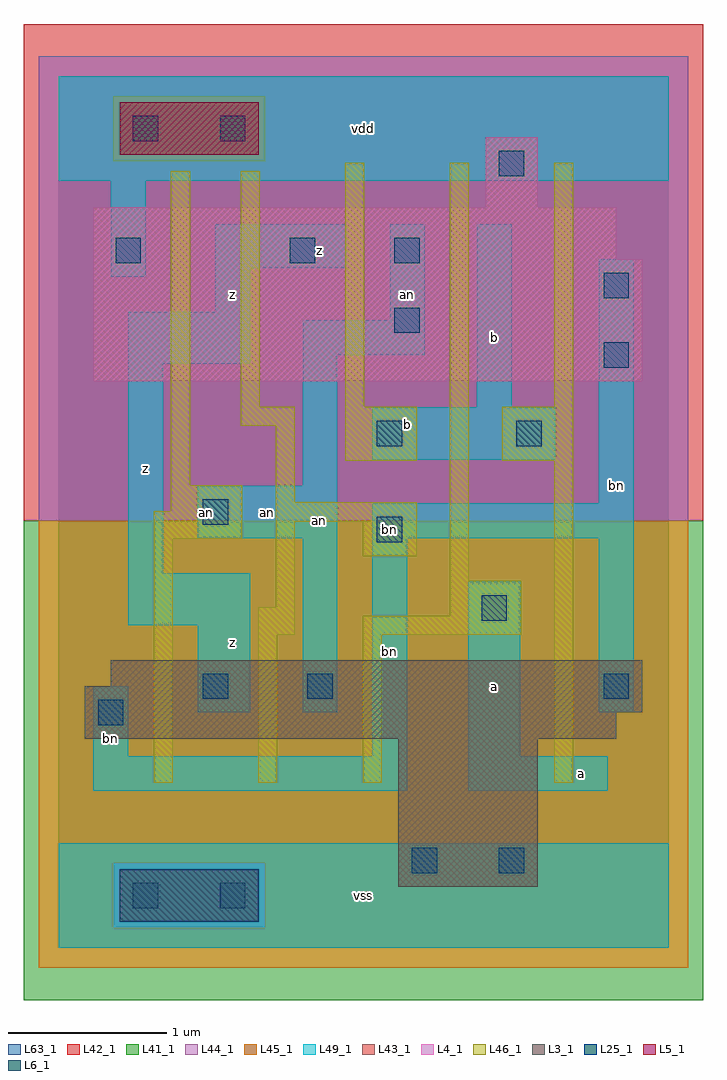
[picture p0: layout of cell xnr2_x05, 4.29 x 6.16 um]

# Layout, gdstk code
import gdstk
lib = gdstk.Library(unit=1e-6, precision=1e-09)
def R(c, l, rs):  # rectangles x0, y0, x1, y1
    for r in rs: c.add(gdstk.rectangle(r[:2], r[2:], *l))
L3_1 = (3, 1)
L4_1 = (4, 1)
L5_1 = (5, 1)
L6_1 = (6, 1)
L25_1 = (25, 1)
L41_1 = (41, 1)
L42_1 = (42, 1)
L43_1 = (43, 1)
L44_1 = (44, 1)
L45_1 = (45, 1)
L46_1 = (46, 1)
L49_1 = (49, 1)
L63_1 = (63, 1)

xnr2_x05 = lib.new_cell('xnr2_x05')
R(xnr2_x05, L3_1, [(2.145,0.385,3.025,1.32), (0.165,1.32,3.52,1.485), (0.165,1.485,3.685,1.65), (0.33,1.65,3.685,1.815)])
R(xnr2_x05, L4_1, [(0.22,3.575,3.685,4.345), (0.22,4.345,3.52,4.675), (2.695,4.675,3.025,5.115)])
R(xnr2_x05, L5_1, [(0.385,5.005,1.265,5.335)])
R(xnr2_x05, L6_1, [(0.385,0.165,1.265,0.495)])
R(xnr2_x05, L25_1, [(0.47,0.25,0.63,0.41), (1.02,0.25,1.18,0.41), (2.23,0.47,2.39,0.63), (2.78,0.47,2.94,0.63), (0.25,1.405,0.41,1.565), (0.91,1.57,1.07,1.73), (1.57,1.57,1.73,1.73), (3.44,1.57,3.6,1.73), (2.67,2.065,2.83,2.225), (2.01,2.56,2.17,2.72), (0.91,2.67,1.07,2.83), (2.01,3.165,2.17,3.325), (2.89,3.165,3.05,3.325), (3.44,3.66,3.6,3.82), (2.12,3.88,2.28,4.04), (3.44,4.1,3.6,4.26), (0.36,4.32,0.52,4.48), (1.46,4.32,1.62,4.48), (2.12,4.32,2.28,4.48), (2.78,4.87,2.94,5.03), (0.47,5.09,0.63,5.25), (1.02,5.09,1.18,5.25)])
R(xnr2_x05, L41_1, [(-0.22,-0.33,4.07,2.695)])
R(xnr2_x05, L42_1, [(-0.22,2.695,4.07,5.83)])
R(xnr2_x05, L43_1, [(0.385,0.165,1.265,0.495), (2.145,0.385,3.025,1.32), (0.165,1.32,3.52,1.485), (0.165,1.485,3.685,1.65), (0.33,1.65,3.685,1.815), (0.22,3.575,3.685,4.345), (0.22,4.345,3.52,4.675), (2.695,4.675,3.025,5.115), (0.385,5.005,1.265,5.335)])
R(xnr2_x05, L44_1, [(0.345,0.125,1.305,0.535), (-0.125,2.695,3.975,4.965), (-0.125,4.965,0.345,5.375), (1.305,4.965,3.975,5.375), (-0.125,5.375,3.975,5.625)])
R(xnr2_x05, L45_1, [(-0.125,-0.125,3.975,0.125), (-0.125,0.125,0.345,0.535), (1.305,0.125,3.975,0.535), (-0.125,0.535,3.975,2.695), (0.345,4.965,1.305,5.375)])
R(xnr2_x05, L46_1, [(0.6,1.04,0.72,2.58), (1.26,1.04,1.38,1.975), (1.92,1.04,2.04,1.975), (3.13,1.04,3.25,3.075), (1.26,1.975,1.49,2.15), (1.92,1.975,2.92,2.095), (2.47,2.095,2.92,2.315), (1.37,2.15,1.49,2.69), (2.47,2.315,2.59,4.955), (1.92,2.47,2.26,2.69), (0.6,2.58,1.16,2.755), (1.37,2.69,2.26,2.81), (0.71,2.755,1.16,2.92), (1.37,2.81,1.49,3.295), (0.71,2.92,0.83,4.9), (1.81,3.075,2.26,3.415), (2.8,3.075,3.25,3.415), (1.15,3.295,1.49,3.415), (1.15,3.415,1.27,4.9), (1.81,3.415,1.93,4.955), (3.13,3.415,3.25,4.955)])
R(xnr2_x05, L49_1, [(0,0,3.85,0.66), (0.22,0.99,2.2,1.21), (2.585,0.99,3.465,1.21), (0.22,1.21,0.44,1.65), (1.98,1.21,2.2,2.585), (2.585,1.21,2.915,2.31), (0.88,1.485,1.21,2.035), (1.54,1.485,1.76,2.585), (3.41,1.485,3.63,2.585), (0.44,2.035,1.21,2.365), (0.44,2.365,0.66,3.685), (0.88,2.585,1.76,2.915), (1.98,2.585,3.63,2.805), (3.41,2.805,3.63,4.345), (1.54,2.915,1.76,3.74), (1.98,3.08,3.135,3.41), (2.64,3.41,2.86,4.565), (0.44,3.685,1.21,4.015), (1.54,3.74,2.31,3.96), (2.09,3.96,2.31,4.565), (0.99,4.015,1.21,4.29), (0.33,4.235,0.55,4.84), (0.99,4.29,1.815,4.565), (0,4.84,3.85,5.5)])
R(xnr2_x05, L63_1, [(0,0,3.85,5.5)])
xnr2_x05.add(gdstk.Label('an', (0.935,2.75), layer=49, texttype=1))
xnr2_x05.add(gdstk.Label('bn', (2.09,2.64), layer=49, texttype=1))
xnr2_x05.add(gdstk.Label('bn', (0.33,1.32), layer=49, texttype=1))
xnr2_x05.add(gdstk.Label('z', (0.55,3.025), layer=49, texttype=1))
xnr2_x05.add(gdstk.Label('z', (0.55,3.025), layer=49, texttype=1))
xnr2_x05.add(gdstk.Label('z', (1.1,1.925), layer=49, texttype=1))
xnr2_x05.add(gdstk.Label('z', (1.1,1.925), layer=49, texttype=1))
xnr2_x05.add(gdstk.Label('an', (1.65,2.695), layer=49, texttype=1))
xnr2_x05.add(gdstk.Label('an', (1.32,2.75), layer=49, texttype=1))
xnr2_x05.add(gdstk.Label('z', (1.1,4.125), layer=49, texttype=1))
xnr2_x05.add(gdstk.Label('z', (1.1,4.125), layer=49, texttype=1))
xnr2_x05.add(gdstk.Label('z', (1.65,4.4), layer=49, texttype=1))
xnr2_x05.add(gdstk.Label('z', (1.65,4.4), layer=49, texttype=1))
xnr2_x05.add(gdstk.Label('vss', (1.925,0.33), layer=49, texttype=1))
xnr2_x05.add(gdstk.Label('vss', (1.925,0.33), layer=49, texttype=1))
xnr2_x05.add(gdstk.Label('a', (2.75,1.65), layer=49, texttype=1))
xnr2_x05.add(gdstk.Label('a', (2.75,1.65), layer=49, texttype=1))
xnr2_x05.add(gdstk.Label('bn', (2.09,1.87), layer=49, texttype=1))
xnr2_x05.add(gdstk.Label('b', (2.75,3.85), layer=49, texttype=1))
xnr2_x05.add(gdstk.Label('b', (2.2,3.3), layer=49, texttype=1))
xnr2_x05.add(gdstk.Label('b', (2.75,3.85), layer=49, texttype=1))
xnr2_x05.add(gdstk.Label('b', (2.2,3.3), layer=49, texttype=1))
xnr2_x05.add(gdstk.Label('an', (2.2,4.125), layer=49, texttype=1))
xnr2_x05.add(gdstk.Label('vdd', (1.925,5.17), layer=49, texttype=1))
xnr2_x05.add(gdstk.Label('vdd', (1.925,5.17), layer=49, texttype=1))
xnr2_x05.add(gdstk.Label('a', (3.3,1.1), layer=49, texttype=1))
xnr2_x05.add(gdstk.Label('a', (3.3,1.1), layer=49, texttype=1))
xnr2_x05.add(gdstk.Label('bn', (3.52,2.915), layer=49, texttype=1))

lib.write_gds('xnr2_x05.gds')
